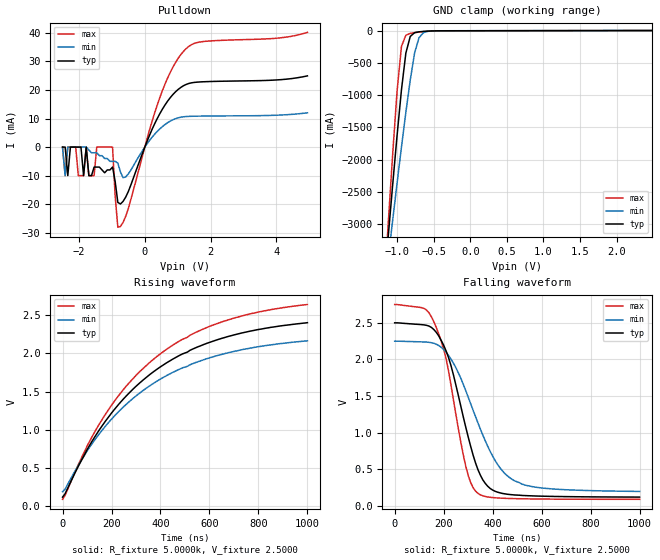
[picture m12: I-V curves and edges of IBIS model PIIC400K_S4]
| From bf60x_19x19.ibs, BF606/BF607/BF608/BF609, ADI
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[Model]  PIIC400K_S4
Model_type I/O_open_drain
Polarity   Non-Inverting
Enable   Active-Low
Vinl =   0.7500V
Vinh =   1.7500V
Vmeas =  1.2500V
Cref =   50.0000pF
Rref =   5.0000k
Vref =   2.5000V
C_comp   5.3246pF   5.6155pF   5.1879pF
[Temperature Range]   25.0000   0.1250k   -40.0000
[Voltage Range]   2.5000V   2.2500V   2.7500V
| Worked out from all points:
|   slope of the pulldown table from 0 to 0.375 V, typ, clamps not added: 37.7 ohm
|   rising waveform, R_fixture 5.0000k, V_fixture 2.5000: 20-80 % time 388ns typ, 388ns min, 389ns max; typ from 0.121 V to 2.4 V
|   falling waveform, R_fixture 5.0000k, V_fixture 2.5000: 20-80 % time 109ns typ, 156ns min, 92.1ns max; typ from 2.5 V to 0.123 V
[Pulldown]
|Voltage   I(typ)   I(min)   I(max)
-2.5V     0A         0A         0A
-2.42V    0A         -10mA      -10mA
-2.34V    -10mA      0A         0A
-2.02V    0A         0A         -10mA
-1.86V    -10mA      0A         -10mA
-1.78V    0A         0A         0A
-1.7V     -10mA      -1mA       -10mA
-980mV    -7mA       -5mA       0A
-820mV    -19.38mA   -5.6mA     -28.05mA
-740mV    -19.94mA   -8.7mA     -27.81mA
1.18V     21.54mA    10.63mA    33.6mA
4.94V     24.95mA    12.01mA    40.21mA
[GND_clamp]
|Voltage   I(typ)   I(min)   I(max)
-2.5V     -22.64A    -17.6A     -29.91A
-1.18V    -3.985A    -4.111A    -4.067A
-1.12V    -3.177A    -3.521A    -2.971A
-1.06V    -2.387A    -2.937A    -1.914A
-1V       -1.626A    -2.364A    -937.7mA
-940mV    -916.5mA   -1.804A    -245mA
-880mV    -348.9mA   -1.267A    -72.44mA
-820mV    -91.32mA   -766.6mA   -44.19mA
-760mV    -32.56mA   -343.7mA   -33.09mA
-700mV    -19.84mA   -111.2mA   -23.82mA
-640mV    -13.56mA   -32.8mA    -16.02mA
2.48V     -25.53uA   293.6uA    -344.7uA
[Ramp]
| variable   typ   min   max
dV/dt_r  1.3688/0.3891u   1.1844/0.3890u   1.5289/0.3893u
dV/dt_f  1.4262/0.1092u   1.2299/0.1555u   1.5945/92.1281n
R_load = 5.0000k
[Rising Waveform]
R_fixture= 5.0000k
V_fixture= 2.5000
V_fixture_min= 2.2500
V_fixture_max= 2.7500
|time   V(typ)   V(min)   V(max)
0s        120.6mV    191mV      91.9mV
10.1ns    162.5mV    222.6mV    140.8mV
100ns     739.6mV    722.8mV    785.9mV
170ns     1.091V     1.028V     1.179V
270ns     1.476V     1.363V     1.608V
390ns     1.803V     1.646V     1.972V
520ns     2.04V      1.851V     2.237V
650ns     2.197V     1.987V     2.412V
810ns     2.318V     2.093V     2.548V
1us       2.402V     2.165V     2.64V
[Falling Waveform]
R_fixture= 5.0000k
V_fixture= 2.5000
V_fixture_min= 2.2500
V_fixture_max= 2.7500
|time   V(typ)   V(min)   V(max)
0s        2.5V       2.25V      2.75V
120ns     2.472V     2.239V     2.696V
160ns     2.408V     2.221V     2.514V
210ns     2.116V     2.099V     2.01V
290ns     1.08V      1.577V     548.4mV
340ns     497.4mV    1.135V     174mV
380ns     270.8mV    815.4mV    124.6mV
430ns     181.3mV    522.3mV    109.4mV
520ns     145.5mV    299.9mV    99.97mV
1us       123mV      200.2mV    92.5mV
